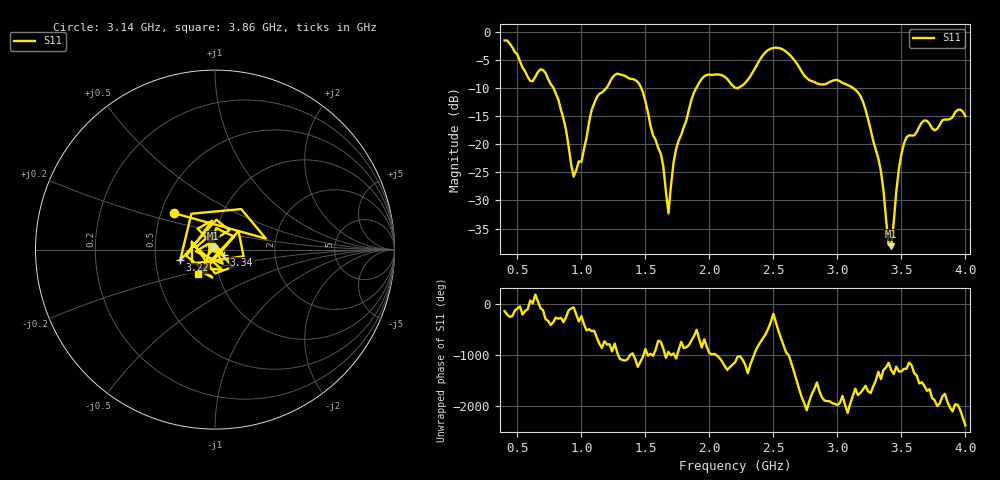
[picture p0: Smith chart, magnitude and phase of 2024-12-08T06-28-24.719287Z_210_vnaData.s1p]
!Created with skrf (http://scikit-rf.org).
# Hz S RI R 50.0
!freq ReS11 ImS11
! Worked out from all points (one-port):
!   181 points, 400 MHz to 4 GHz, reference 50 ohm
!   lowest |S11| = -38.1 dB at 3.42 GHz (marker M1), VSWR 1.03, Z = 49 + j0.684 ohm
!   |S11| at or under -10 dB: 782.2 MHz to 1.195 GHz (412.6 MHz wide, 41.7 % of centre); 1.467 GHz to 1.897 GHz (429.8 MHz wide, 25.6 % of centre); 3.124 GHz to end of sweep (the widest 3 of 4)
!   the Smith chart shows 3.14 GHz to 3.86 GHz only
!   S11 on the Smith chart (normalised r, x): 3.14 GHz: 0.58, +0.26; 3.22 GHz: 0.67, -0.08; 3.34 GHz: 1.10, -0.07; 3.86 GHz: 0.80, -0.22
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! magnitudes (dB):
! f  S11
! 400 MHz  -1.5
! 600 MHz  -8.7
! 720 MHz  -7.3
! 860 MHz  -15.4
! 940 MHz  -25.8
! 1 GHz  -23.1
! 1.12 GHz  -11.6
! 1.3 GHz  -7.5
! 1.48 GHz  -10.7
! 1.62 GHz  -21.7
! 1.68 GHz  -32.3
! 1.72 GHz  -23.3
! 1.76 GHz  -19.3
! 1.96 GHz  -7.9
! 2.2 GHz  -9.9
! 2.48 GHz  -3.0
! 2.66 GHz  -4.9
! 2.78 GHz  -8.6
! 3.1 GHz  -9.7
! 3.14 GHz  -10.3
! 3.22 GHz  -13.8
! 3.34 GHz  -24.8
! 3.4 GHz  -37.9
! 3.42 GHz  -38.1
! 3.48 GHz  -24.4
! 3.56 GHz  -18.4
! 3.86 GHz  -15.6
! 4 GHz  -15.0
